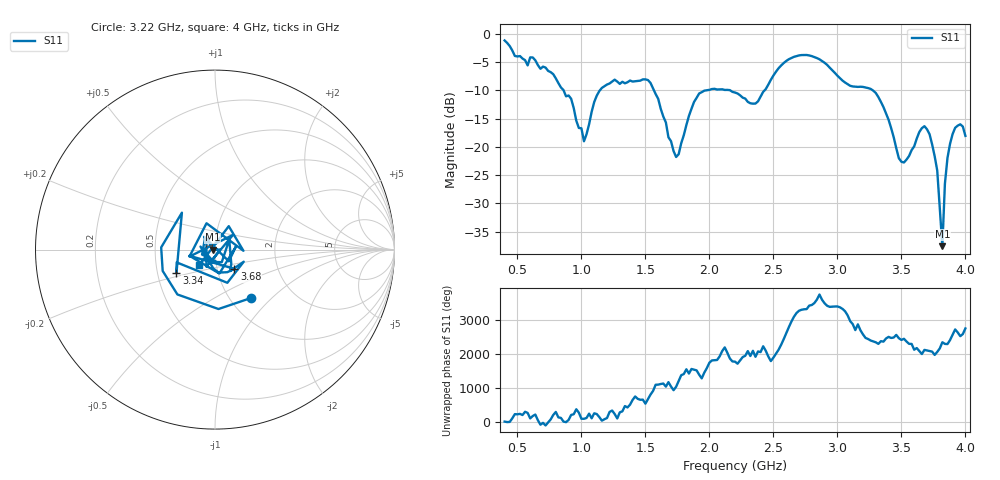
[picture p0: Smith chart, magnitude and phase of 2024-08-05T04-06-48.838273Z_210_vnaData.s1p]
!Created with skrf (http://scikit-rf.org).
# Hz S RI R 50.0
!freq ReS11 ImS11
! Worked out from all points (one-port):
!   181 points, 400 MHz to 4 GHz, reference 50 ohm
!   lowest |S11| = -37.6 dB at 3.82 GHz (marker M1), VSWR 1.03, Z = 48.7 + j0.0136 ohm
!   |S11| at or under -10 dB: 861.1 MHz to 1.144 GHz (282.9 MHz wide, 28.2 % of centre); 1.567 GHz to 1.972 GHz (405.3 MHz wide, 22.9 % of centre); 3.277 GHz to end of sweep (the widest 3 of 4)
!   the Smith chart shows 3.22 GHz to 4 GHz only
!   S11 on the Smith chart (normalised r, x): 3.22 GHz: 1.24, -0.76; 3.34 GHz: 0.63, -0.17; 3.68 GHz: 1.21, -0.27; 4 GHz: 0.82, -0.15
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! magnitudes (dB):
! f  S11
! 400 MHz  -1.2
! 860 MHz  -9.9
! 920 MHz  -11.5
! 1.02 GHz  -19.0
! 1.14 GHz  -10.1
! 1.3 GHz  -8.8
! 1.54 GHz  -8.7
! 1.72 GHz  -20.7
! 1.76 GHz  -21.3
! 1.84 GHz  -14.5
! 1.92 GHz  -10.5
! 2.2 GHz  -10.4
! 2.36 GHz  -12.3
! 2.66 GHz  -4.1
! 2.86 GHz  -4.5
! 3.1 GHz  -9.2
! 3.22 GHz  -9.5
! 3.34 GHz  -12.0
! 3.48 GHz  -22.0
! 3.56 GHz  -21.6
! 3.68 GHz  -16.3
! 3.72 GHz  -17.7
! 3.78 GHz  -24.2
! 3.82 GHz  -37.6
! 3.84 GHz  -26.5
! 3.88 GHz  -19.5
! 3.96 GHz  -16.0
! 4 GHz  -18.0
